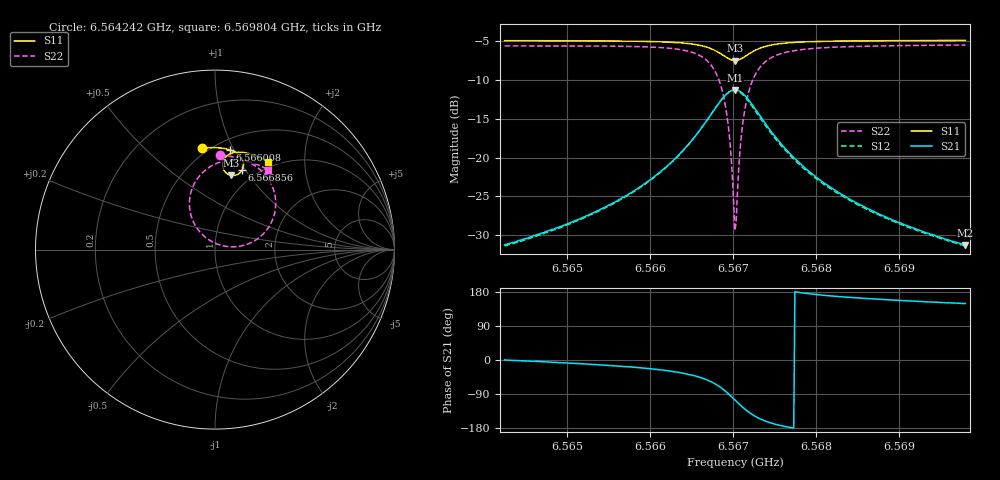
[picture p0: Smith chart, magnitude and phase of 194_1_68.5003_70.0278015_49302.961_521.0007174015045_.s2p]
#  HZ  S  RI  R  50.00
! Rohde & Schwarz Vector Network Analyzer
! Rohde-Schwarz,ZNB20-2Port,1311601062101988,3.16
! Created: UTC 3/20/2024, 4:57:14 PM
! freq[Hz]  re:S11  im:S11  re:S21  im:S21  re:S12  im:S12  re:S22  im:S22
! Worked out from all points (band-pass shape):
!   401 points, 6.564242 GHz to 6.569804 GHz, reference 50 ohm
!   highest |S21| = -11.24 dB at 6.567023 GHz (marker M1); lowest = -31.3 dB at 6.569804 GHz (marker M2)
!   |S21| within 3 dB of the highest: 6.566745 GHz to 6.567301 GHz (556.4 kHz wide, 0.00847 % of centre)
!   lowest |S11| = -7.5 dB at 6.567023 GHz (marker M3), VSWR 2.47, Z = 40.9 + j41.3 ohm
!   |S11| at or under -10 dB: nowhere
!   |S22| runs from -29.4 to -5.5 dB; largest |S21 - S12| = 0.013
!   S11 on the Smith chart (normalised r, x): 6.564242 GHz: 0.46, +0.77; 6.566008 GHz: 0.59, +0.96; 6.566856 GHz: 0.85, +0.96; 6.569804 GHz: 0.92, +1.33
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6.5642423e9  -0.0714 0.5646  0.0274 9.73e-05  0.0269 -0.000513  0.0286 0.5259
6.5651738e9  0.00458 0.568  0.0402 -0.00702  0.0396 -0.0076  0.116 0.5137
6.566008e9  0.0814 0.5562  0.0667 -0.0285  0.0658 -0.0292  0.2215 0.4683
6.5661053e9  0.0916 0.5528  0.072 -0.0343  0.0708 -0.0351  0.2377 0.4567
6.5663973e9  0.1247 0.5352  0.0916 -0.0639  0.0902 -0.065  0.2936 0.3984
6.5666197e9  0.1504 0.5061  0.1061 -0.1145  0.1037 -0.1166  0.3344 0.3004
6.5667588e9  0.1588 0.4728  0.0992 -0.1726  0.0949 -0.1757  0.3286 0.1895
6.5668561e9  0.1503 0.4419  0.0673 -0.2255  0.0598 -0.2284  0.2717 0.0901
6.5669395e9  0.1257 0.4189  0.00784 -0.2627  -0.00281 -0.2626  0.163 0.0246
6.5669673e9  0.1139 0.4146  -0.0182 -0.2682  -0.0296 -0.2667  0.116 0.0161
6.567009e9  0.0944 0.4132  -0.0597 -0.2673  -0.0714 -0.2625  0.042 0.0218
6.5670229e9  0.0878 0.4142  -0.0735 -0.2641  -0.0849 -0.2584  0.0178 0.0289
6.5670368e9  0.0814 0.4161  -0.087 -0.2598  -0.0979 -0.2529  -0.00535 0.0384
6.5670507e9  0.0753 0.4185  -0.0999 -0.254  -0.1102 -0.2463  -0.0272 0.0502
6.5670924e9  0.0595 0.4296  -0.1335 -0.2302  -0.1414 -0.2203  -0.0823 0.0963
6.5671342e9  0.0487 0.4442  -0.1575 -0.2002  -0.1628 -0.1894  -0.1192 0.1519
6.5671898e9  0.0423 0.4655  -0.1743 -0.1583  -0.1762 -0.1474  -0.1411 0.2273
6.5672593e9  0.0444 0.4893  -0.1768 -0.1118  -0.1759 -0.1026  -0.1368 0.3084
6.5675095e9  0.0829 0.5329  -0.1341 -0.0249  -0.1312 -0.0209  -0.0395 0.4535
6.5679545e9  0.1434 0.5427  -0.0781 0.0082  -0.0763 0.00942  0.0891 0.4988
6.568886e9  0.2291 0.5213  -0.0378 0.0146  -0.0369 0.015  0.2191 0.4799
6.5698036e9  0.2962 0.4882  -0.0234 0.014  -0.0228 0.0142  0.298 0.4427
